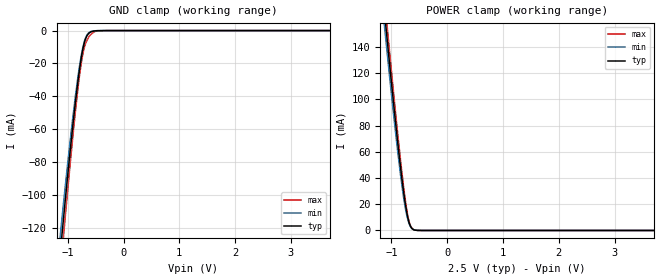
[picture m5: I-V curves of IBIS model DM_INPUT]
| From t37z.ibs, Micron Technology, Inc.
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|   MODEL DM_INPUT
[Model]   DM_INPUT
Model_type   Input
Vinl = 0.940V
Vinh = 1.560V
|   typ   min   max
C_comp   3.97pF   3.72pF   4.21pF
[Model Spec]
| Input threshold voltage corners
Vinh   1.560V   1.460V   1.660V
Vinl   0.940V   0.840V   1.040V
| Overshoot/Undershoot
S_overshoot_high   2.800V   2.600V   3.000V
S_overshoot_low   -0.300V   NA   NA
[Receiver Thresholds]
Vth   =  1.250V
Vth_min  =  1.225V
Vth_max  =  1.275V
Vinh_ac  =  0.310V
Vinh_dc  =  0.150V
Vinl_ac  = -0.310V
Vinl_dc  = -0.150V
Tslew_ac =  10.000ns |Not specified, so set to high value
[Voltage Range]   2.500V   2.300V   2.700V
| Junction Temperature (Ambient temp is 25C typ, 70C min, 0C max)
[Temperature Range]   40.0   85.0   0.0
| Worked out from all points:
|   GND clamp passes 1 mA (typ) near -0.59 V on its own axis
|   POWER clamp passes 1 mA (typ) near -0.62 V on its own axis
[GND Clamp]
|   Voltage   I(typ)   I(min)   I(max)
-2.5V     -667mA     -632.7mA   -703.9mA
-1.15V    -141.3mA   -130.4mA   -153.8mA
-1.12V    -130.4mA   -120.2mA   -142.2mA
-1.105V   -125mA     -115.1mA   -136.5mA
-1.08V    -116.1mA   -106.8mA   -127mA
-1.055V   -107.2mA   -98.51mA   -117.5mA
-900mV    -55.4mA    -50.55mA   -61.88mA
-775mV    -20.58mA   -18.81mA   -24.14mA
-690mV    -6.016mA   -5.386mA   -8.986mA
-595mV    -1.011mA   -731.8uA   -2.735mA
-308mV    0A         0A         NA
5V        0A         0A         0A
[POWER Clamp]
|   Voltage   I(typ)   I(min)   I(max)
-2.5V     812.6mA    786.1mA    845.2mA
-1.13V    168.7mA    157.9mA    179.6mA
-1.1V     155.6mA    145.2mA    166mA
-1.085V   149.1mA    138.9mA    159.3mA
-1.06V    138.3mA    128.4mA    148.1mA
-905mV    74mA       66.65mA    80.93mA
-785mV    30.37mA    26.09mA    34.3mA
-735mV    16.07mA    13.51mA    18.43mA
-695mV    7.748mA    6.57mA     8.927mA
-655mV    2.918mA    2.642mA    3.329mA
-605mV    658.8uA    701.4uA    739.4uA
5V        0A         0A         0A
